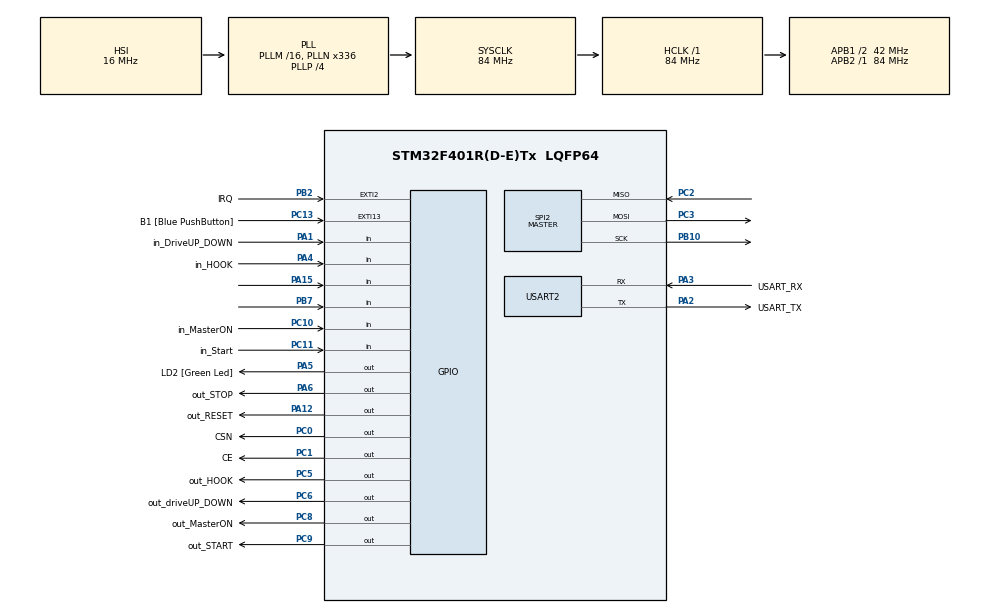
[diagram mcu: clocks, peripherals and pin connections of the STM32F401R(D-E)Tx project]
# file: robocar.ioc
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FREERTOS.Tasks01=defaultTask,24,128,StartDefaultTask,Default,NULL,Dynamic,NULL,NULL;nRF24L01,24,128,Start_nRF24L01,Default,NULL,Dynamic,NULL,NULL
Mcu.Family=STM32F4
Mcu.Name=STM32F401R(D-E)Tx
Mcu.Package=LQFP64
NVIC.PriorityGroup=NVIC_PRIORITYGROUP_4
NVIC.TIM1_UP_TIM10_IRQn=true\:15\:0\:false\:false\:true\:false\:false\:true
NVIC.TimeBase=TIM1_UP_TIM10_IRQn
NVIC.TimeBaseIP=TIM1
PA1.GPIO_Label=in_DriveUP_DOWN
PA1.Signal=GPIO_Input
PA12.GPIO_Label=out_RESET
PA12.GPIO_Speed=GPIO_SPEED_FREQ_MEDIUM
PA12.Signal=GPIO_Output
PA13.GPIO_Label=TMS
PA13.Mode=Serial_Wire
PA13.Signal=SYS_JTMS-SWDIO
PA14.GPIO_Label=TCK
PA14.Mode=Serial_Wire
PA14.Signal=SYS_JTCK-SWCLK
PA15.Signal=GPIO_Input
PA2.GPIO_Label=USART_TX
PA2.GPIO_Mode=GPIO_MODE_AF_PP
PA2.GPIO_PuPd=GPIO_NOPULL
PA2.GPIO_Speed=GPIO_SPEED_FREQ_LOW
PA2.Mode=Asynchronous
PA2.Signal=USART2_TX
PA3.GPIO_Label=USART_RX
PA3.GPIO_Mode=GPIO_MODE_AF_PP
PA3.GPIO_PuPd=GPIO_NOPULL
PA3.GPIO_Speed=GPIO_SPEED_FREQ_LOW
PA3.Mode=Asynchronous
PA3.Signal=USART2_RX
PA4.GPIO_Label=in_HOOK
PA4.Signal=GPIO_Input
PA5.GPIO_Label=LD2 [Green Led]
PA5.GPIO_Mode=GPIO_MODE_OUTPUT_PP
PA5.GPIO_PuPd=GPIO_NOPULL
PA5.GPIO_Speed=GPIO_SPEED_FREQ_LOW
PA5.Signal=GPIO_Output
PA6.GPIO_Label=out_STOP
PA6.GPIO_Speed=GPIO_SPEED_FREQ_MEDIUM
PA6.Signal=GPIO_Output
PB10.Mode=Full_Duplex_Master
PB10.Signal=SPI2_SCK
PB2.GPIO_Label=IRQ
PB2.GPIO_ModeDefaultEXTI=GPIO_MODE_IT_FALLING
PB2.Signal=GPXTI2
PB3.GPIO_Label=SWO
PB3.Signal=SYS_JTDO-SWO
PB7.Signal=GPIO_Input
PC0.GPIO_Label=CSN
PC0.GPIO_Speed=GPIO_SPEED_FREQ_MEDIUM
PC0.Signal=GPIO_Output
PC1.GPIO_Label=CE
PC1.GPIO_Speed=GPIO_SPEED_FREQ_MEDIUM
PC1.Signal=GPIO_Output
PC10.GPIO_Label=in_MasterON
PC10.Signal=GPIO_Input
PC11.GPIO_Label=in_Start
PC11.Signal=GPIO_Input
PC13-ANTI_TAMP.GPIO_Label=B1 [Blue PushButton]
PC13-ANTI_TAMP.GPIO_ModeDefaultEXTI=GPIO_MODE_IT_FALLING
PC13-ANTI_TAMP.GPIO_PuPd=GPIO_NOPULL
PC13-ANTI_TAMP.Signal=GPXTI13
PC14-OSC32_IN.Mode=LSE-External-Oscillator
PC14-OSC32_IN.Signal=RCC_OSC32_IN
PC15-OSC32_OUT.Mode=LSE-External-Oscillator
PC15-OSC32_OUT.Signal=RCC_OSC32_OUT
PC2.Mode=Full_Duplex_Master
PC2.Signal=SPI2_MISO
PC3.Mode=Full_Duplex_Master
PC3.Signal=SPI2_MOSI
PC5.GPIO_Label=out_HOOK
PC5.Signal=GPIO_Output
PC6.GPIO_Label=out_driveUP_DOWN
PC6.GPIO_Speed=GPIO_SPEED_FREQ_MEDIUM
PC6.Signal=GPIO_Output
PC8.GPIO_Label=out_MasterON
PC8.GPIO_Speed=GPIO_SPEED_FREQ_MEDIUM
PC8.Signal=GPIO_Output
PC9.GPIO_Label=out_START
PC9.GPIO_Speed=GPIO_SPEED_FREQ_MEDIUM
PC9.Signal=GPIO_Output
PH0\ -\ OSC_IN.Mode=HSE-External-Clock-Source
PH0\ -\ OSC_IN.Signal=RCC_OSC_IN
PH1\ -\ OSC_OUT.Mode=HSE-External-Clock-Source
PH1\ -\ OSC_OUT.Signal=RCC_OSC_OUT
ProjectManager.HeapSize=0x200
ProjectManager.StackSize=0x400
ProjectManager.TargetToolchain=EWARM V8.32
RCC.48MHZClocksFreq_Value=48000000
RCC.AHBFreq_Value=84000000
RCC.APB1CLKDivider=RCC_HCLK_DIV2
RCC.APB1Freq_Value=42000000
RCC.APB1TimFreq_Value=84000000
RCC.APB2Freq_Value=84000000
RCC.APB2TimFreq_Value=84000000
RCC.CortexFreq_Value=84000000
RCC.HCLKFreq_Value=84000000
RCC.HSE_VALUE=8000000
RCC.HSI_VALUE=16000000
RCC.PLLN=336
RCC.PLLP=RCC_PLLP_DIV4
RCC.PLLQ=7
RCC.SYSCLKFreq_VALUE=84000000
RCC.SYSCLKSource=RCC_SYSCLKSOURCE_PLLCLK
RCC.VCOOutputFreq_Value=336000000
SPI2.BaudRatePrescaler=SPI_BAUDRATEPRESCALER_32
SPI2.Direction=SPI_DIRECTION_2LINES
SPI2.Mode=SPI_MODE_MASTER
SPI2.VirtualType=VM_MASTER
USART2.VirtualMode=VM_ASYNC
VP_FREERTOS_VS_CMSIS_V2.Mode=CMSIS_V2
VP_SYS_VS_tim1.Mode=TIM1
board=NUCLEO-F401RE

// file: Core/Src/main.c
/* USER CODE BEGIN Header */
/**
  ******************************************************************************
  * @file           : main.c
  * @brief          : Main program body
  ******************************************************************************
  * @attention
  *
  * <h2><center>&copy; Copyright (c) 2021 STMicroelectronics.
  * All rights reserved.</center></h2>
  *
  * This software component is licensed by ST under Ultimate Liberty license
  * SLA0044, the "License"; You may not use this file except in compliance with
  * the License. You may obtain a copy of the License at:
  *                             www.st.com/SLA0044
  *
  ******************************************************************************
  */
/* USER CODE END Header */
#include "main.h"
#include "cmsis_os.h"
#include "spi.h"
#include "usart.h"
#include "gpio.h"

void SystemClock_Config(void);
void MX_FREERTOS_Init(void);

/* USER CODE BEGIN 0 */
void HAL_GPIO_EXTI_Callback(uint16_t GPIO_Pin)
{
	if(GPIO_Pin	== IRQ_Pin)
	{
		HAL_UART_Transmit(&huart2, (uint8_t*)"IRQ\n", strlen("IRQ\n"), 1000);
	}
}
/* USER CODE END 0 */

int main(void)
{

  /* MCU Configuration--------------------------------------------------------*/

  /* Reset of all peripherals, Initializes the Flash interface and the Systick. */
  HAL_Init();

  /* Configure the system clock */
  SystemClock_Config();

  /* Initialize all configured peripherals */
  MX_GPIO_Init();
  MX_SPI2_Init();
  MX_USART2_UART_Init();

  /* Init scheduler */
  osKernelInitialize();  /* Call init function for freertos objects (in freertos.c) */
  MX_FREERTOS_Init();
  /* Start scheduler */
  osKernelStart();

  /* We should never get here as control is now taken by the scheduler */
  /* Infinite loop */
  while (1)
  {

  }
}

void SystemClock_Config(void)
{
  RCC_OscInitTypeDef RCC_OscInitStruct = {0};
  RCC_ClkInitTypeDef RCC_ClkInitStruct = {0};

  /** Configure the main internal regulator output voltage
  */
  __HAL_RCC_PWR_CLK_ENABLE();
  __HAL_PWR_VOLTAGESCALING_CONFIG(PWR_REGULATOR_VOLTAGE_SCALE2);
  /** Initializes the RCC Oscillators according to the specified parameters
  * in the RCC_OscInitTypeDef structure.
  */
  RCC_OscInitStruct.OscillatorType = RCC_OSCILLATORTYPE_HSI;
  RCC_OscInitStruct.HSIState = RCC_HSI_ON;
  RCC_OscInitStruct.HSICalibrationValue = RCC_HSICALIBRATION_DEFAULT;
  RCC_OscInitStruct.PLL.PLLState = RCC_PLL_ON;
  RCC_OscInitStruct.PLL.PLLSource = RCC_PLLSOURCE_HSI;
  RCC_OscInitStruct.PLL.PLLM = 16;
  RCC_OscInitStruct.PLL.PLLN = 336;
  RCC_OscInitStruct.PLL.PLLP = RCC_PLLP_DIV4;
  RCC_OscInitStruct.PLL.PLLQ = 7;
  if (HAL_RCC_OscConfig(&RCC_OscInitStruct) != HAL_OK)
  {
    Error_Handler();
  }
  /** Initializes the CPU, AHB and APB buses clocks
  */
  RCC_ClkInitStruct.ClockType = RCC_CLOCKTYPE_HCLK|RCC_CLOCKTYPE_SYSCLK
                              |RCC_CLOCKTYPE_PCLK1|RCC_CLOCKTYPE_PCLK2;
  RCC_ClkInitStruct.SYSCLKSource = RCC_SYSCLKSOURCE_PLLCLK;
  RCC_ClkInitStruct.AHBCLKDivider = RCC_SYSCLK_DIV1;
  RCC_ClkInitStruct.APB1CLKDivider = RCC_HCLK_DIV2;
  RCC_ClkInitStruct.APB2CLKDivider = RCC_HCLK_DIV1;

  if (HAL_RCC_ClockConfig(&RCC_ClkInitStruct, FLASH_LATENCY_2) != HAL_OK)
  {
    Error_Handler();
  }
}

void HAL_TIM_PeriodElapsedCallback(TIM_HandleTypeDef *htim)
{
  if (htim->Instance == TIM1) {
    HAL_IncTick();
  }
}

void Error_Handler(void)
{
  __disable_irq();
  while (1)
  {
  }
}

/************************ (C) COPYRIGHT STMicroelectronics *****END OF FILE****/

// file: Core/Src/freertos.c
/* USER CODE BEGIN Header */
/**
  ******************************************************************************
  * File Name          : freertos.c
  * Description        : Code for freertos applications
  ******************************************************************************
  * @attention
  *
  * <h2><center>&copy; Copyright (c) 2021 STMicroelectronics.
  * All rights reserved.</center></h2>
  *
  * This software component is licensed by ST under Ultimate Liberty license
  * SLA0044, the "License"; You may not use this file except in compliance with
  * the License. You may obtain a copy of the License at:
  *                             www.st.com/SLA0044
  *
  ******************************************************************************
  */
/* USER CODE END Header */

#include "FreeRTOS.h"
#include "task.h"
#include "main.h"
#include "cmsis_os.h"

/* USER CODE BEGIN Includes */
#include "usart.h"
#include "nrf24l01.h"
/* USER CODE END Includes */

/* USER CODE BEGIN Variables */
uint8_t res;
/* USER CODE END Variables */
/* Definitions for defaultTask */
osThreadId_t defaultTaskHandle;
const osThreadAttr_t defaultTask_attributes = {
  .name = "defaultTask",
  .stack_size = 128 * 4,
  .priority = (osPriority_t) osPriorityNormal,
};
/* Definitions for nRF24L01 */
osThreadId_t nRF24L01Handle;
const osThreadAttr_t nRF24L01_attributes = {
  .name = "nRF24L01",
  .stack_size = 128 * 4,
  .priority = (osPriority_t) osPriorityNormal,
};

void StartDefaultTask(void *argument);
void Start_nRF24L01(void *argument);

void MX_FREERTOS_Init(void); /* (MISRA C 2004 rule 8.1) */

void MX_FREERTOS_Init(void) {

  /* Create the thread(s) */
  /* creation of defaultTask */
  defaultTaskHandle = osThreadNew(StartDefaultTask, NULL, &defaultTask_attributes);

  /* creation of nRF24L01 */
  nRF24L01Handle = osThreadNew(Start_nRF24L01, NULL, &nRF24L01_attributes);

}

void StartDefaultTask(void *argument)
{
  /* USER CODE BEGIN StartDefaultTask */
	HAL_GPIO_WritePin(GPIOA, LD2_Pin, GPIO_PIN_SET); // switch on
    osDelay(1000);
	HAL_GPIO_WritePin(GPIOA, LD2_Pin, GPIO_PIN_RESET); // switch off
	osDelay(1000);
	HAL_GPIO_WritePin(GPIOA, LD2_Pin, GPIO_PIN_SET); // switch on
  /* Infinite loop */
  for(;;)
  {
	osDelay(1000);
  }
  /* USER CODE END StartDefaultTask */
}

void Start_nRF24L01(void *argument)
{
  /* USER CODE BEGIN Start_nRF24L01 */
  const uint64_t pipe1 = 0xE8E8F0F0E2LL; // адрес первой трубы
  res = isChipConnected(); // проверяет подключён ли модуль к SPI

  char str[64] = {0,};
  snprintf(str, 64, "Connected: %s\n", 1 ? "OK" : "NOT OK");
  HAL_UART_Transmit(&huart2, (uint8_t*)str, strlen(str), 1000);

  res = NRF_Init(); // инициализация

  snprintf(str, 64, "Init: %s\n", res > 0 && res < 255 ? "OK" : "NOT OK");
  HAL_UART_Transmit(&huart2, (uint8_t*)str, strlen(str), 1000);

  ////////////// SET ////////////////
  enableAckPayload();
  //setAutoAck(false);
  //setPayloadSize(3);
  setChannel(19);

  openReadingPipe(1, pipe1);
  startListening();

  ///////////////////////////////////

  ////////////////////////// Вывод всяких статусов, для работы не нужно /////////////////////////////
  uint8_t status = get_status();
  snprintf(str, 64, "get_status: 0x%02x\n", status);
  HAL_UART_Transmit(&huart2, (uint8_t*)str, strlen(str), 1000);

  status = getPALevel();
  snprintf(str, 64, "getPALevel: 0x%02x  ", status);
  HAL_UART_Transmit(&huart2, (uint8_t*)str, strlen(str), 1000);

  if(status == 0x00)
  {
	  HAL_UART_Transmit(&huart2, (uint8_t*)"RF24_PA_MIN\n", strlen("RF24_PA_MIN\n"), 1000);
  }
  else if(status == 0x01)
  {
	  HAL_UART_Transmit(&huart2, (uint8_t*)"RF24_PA_LOW\n", strlen("RF24_PA_LOW\n"), 1000);
  }
  else if(status == 0x02)
  {
	  HAL_UART_Transmit(&huart2, (uint8_t*)"RF24_PA_HIGH\n", strlen("RF24_PA_HIGH\n"), 1000);
  }
  else if(status == 0x03)
  {
	  HAL_UART_Transmit(&huart2, (uint8_t*)"RF24_PA_MAX\n", strlen("RF24_PA_MAX\n"), 1000);
  }

  status = getChannel();
  snprintf(str, 64, "getChannel: 0x%02x № %d\n", status, status);
  HAL_UART_Transmit(&huart2, (uint8_t*)str, strlen(str), 1000);

  status = getDataRate();
  snprintf(str, 64, "getDataRate: 0x%02x  ", status);
  HAL_UART_Transmit(&huart2, (uint8_t*)str, strlen(str), 1000);

  if(status == 0x02)
  {
	  HAL_UART_Transmit(&huart2, (uint8_t*)"RF24_250KBPS\n", strlen("RF24_250KBPS\n"), 1000);
  }
  else if(status == 0x01)
  {
	  HAL_UART_Transmit(&huart2, (uint8_t*)"RF24_2MBPS\n", strlen("RF24_2MBPS\n"), 1000);
  }
  else
  {
	  HAL_UART_Transmit(&huart2, (uint8_t*)"RF24_1MBPS\n", strlen("RF24_1MBPS\n"), 1000);
  }

  status = getPayloadSize();
  snprintf(str, 64, "getPayloadSize: %d\n", status);
  HAL_UART_Transmit(&huart2, (uint8_t*)str, strlen(str), 1000);

  status = getCRCLength();
  snprintf(str, 64, "getCRCLength: 0x%02x  ", status);
  HAL_UART_Transmit(&huart2, (uint8_t*)str, strlen(str), 1000);

  if(status == 0x00)
  {
	  HAL_UART_Transmit(&huart2, (uint8_t*)"RF24_CRC_DISABLED\n", strlen("RF24_CRC_DISABLED\n"), 1000);
  }
  else if(status == 0x01)
  {
	  HAL_UART_Transmit(&huart2, (uint8_t*)"RF24_CRC_8\n", strlen("RF24_CRC_8\n"), 1000);
  }
  else if(status == 0x02)
  {
	  HAL_UART_Transmit(&huart2, (uint8_t*)"RF24_CRC_16\n", strlen("RF24_CRC_16\n"), 1000);
  }
  /////////////////////////////////////////////////////////////////////////////////////////////////////

  maskIRQ(true, true, true); // маскируем прерывания
  /* Infinite loop */
  for(;;)
  {
	///////////////////////////////////// ПРИЁМ /////////////////////////////////////////////
	uint8_t nrf_data[32] = {0,}; // буфер указываем максимального размера
	//static uint8_t remsg = 0;
	char remsg[] = "Hello Zhan! How are you?";
	uint8_t pipe_num = 0;

	if(available(&pipe_num)) // проверяем пришло ли что-то
	{
		//remsg++;

		writeAckPayload(pipe_num, &remsg, sizeof(remsg)); // отправляем полезную нагрузку вместе с подтверждением

		if(pipe_num == 0) // проверяем в какую трубу пришли данные
		{
			HAL_UART_Transmit(&huart2, (uint8_t*)"pipe 0\n", strlen("pipe 0\n"), 1000);
		}

		else if(pipe_num == 1)
		{
			HAL_UART_Transmit(&huart2, (uint8_t*)"pipe 1\n", strlen("pipe 1\n"), 1000);

			uint8_t count = getDynamicPayloadSize(); // смотрим сколько байт прилетело

			read(&nrf_data, count); // Читаем данные в массив nrf_data и указываем сколько байт читать
                        //writeAckPayload(pipe_num, &nrf_data[0], sizeof(&nrf_data[0])); // отправляем полезную нагрузку вместе с подтверждением
			if(nrf_data[0] == 77 && nrf_data[1] == 86 && nrf_data[2] == 97) // проверяем правильность данных
			{
				HAL_GPIO_TogglePin(LD2_GPIO_Port, LD2_Pin);
				snprintf(str, 64, "data[0]=%d data[1]=%d data[2]=%d\n", nrf_data[0], nrf_data[1], nrf_data[2]);
				HAL_UART_Transmit(&huart2, (uint8_t*)str, strlen(str), 1000);
			}
		}

		else if(pipe_num == 2)
		{
			HAL_UART_Transmit(&huart2, (uint8_t*)"pipe 2\n", strlen("pipe 2\n"), 1000);
		}

		else
		{
			while(availableMy()) // если данные придут от неуказанной трубы, то попадут сюда
			{
				read(&nrf_data, sizeof(nrf_data));
				HAL_UART_Transmit(&huart2, (uint8_t*)"Unknown pipe\n", strlen("Unknown pipe\n"), 1000);
			}
		}
	}
    osDelay(1);
  }
  /* USER CODE END Start_nRF24L01 */
}

/************************ (C) COPYRIGHT STMicroelectronics *****END OF FILE****/
